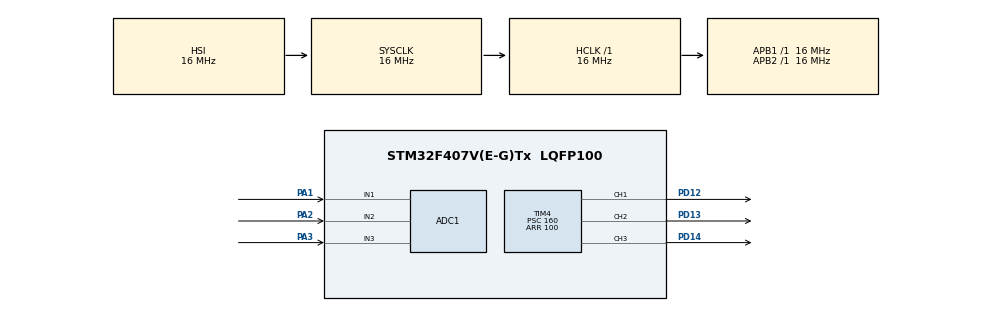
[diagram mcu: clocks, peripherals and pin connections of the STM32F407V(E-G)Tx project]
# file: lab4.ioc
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ADC1.Channel-0\#ChannelRegularConversion=ADC_CHANNEL_1
ADC1.ClockPrescaler=ADC_CLOCK_SYNC_PCLK_DIV8
ADC1.NbrOfConversionFlag=1
ADC1.Rank-0\#ChannelRegularConversion=1
ADC1.SamplingTime-0\#ChannelRegularConversion=ADC_SAMPLETIME_480CYCLES
ADC1.master=1
Mcu.Family=STM32F4
Mcu.Name=STM32F407V(E-G)Tx
Mcu.Package=LQFP100
NVIC.ADC_IRQn=true\:0\:0\:false\:false\:true\:true\:true\:true
NVIC.PriorityGroup=NVIC_PRIORITYGROUP_4
PA1.Signal=ADCx_IN1
PA2.Signal=ADCx_IN2
PA3.Signal=ADCx_IN3
PD12.Signal=S_TIM4_CH1
PD13.Signal=S_TIM4_CH2
PD14.Signal=S_TIM4_CH3
ProjectManager.HeapSize=0x200
ProjectManager.StackSize=0x400
ProjectManager.TargetToolchain=STM32CubeIDE
RCC.AHBFreq_Value=16000000
RCC.APB1Freq_Value=16000000
RCC.APB2Freq_Value=16000000
RCC.CortexFreq_Value=16000000
RCC.HSE_VALUE=25000000
RCC.HSI_VALUE=16000000
RCC.LSE_VALUE=32768
RCC.SYSCLKFreq_VALUE=16000000
RCC.VCOOutputFreq_Value=192000000
SH.ADCx_IN1.0=ADC1_IN1,IN1
SH.ADCx_IN2.0=ADC1_IN2,IN2
SH.ADCx_IN3.0=ADC1_IN3,IN3
SH.S_TIM4_CH1.0=TIM4_CH1,PWM Generation1 CH1
SH.S_TIM4_CH2.0=TIM4_CH2,PWM Generation2 CH2
SH.S_TIM4_CH3.0=TIM4_CH3,PWM Generation3 CH3
TIM4.Channel-PWM\ Generation1\ CH1=TIM_CHANNEL_1
TIM4.Channel-PWM\ Generation2\ CH2=TIM_CHANNEL_2
TIM4.Channel-PWM\ Generation3\ CH3=TIM_CHANNEL_3
TIM4.Period=100
TIM4.Prescaler=160
VP_TIM4_VS_ClockSourceINT.Mode=Internal
board=custom

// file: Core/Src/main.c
/* USER CODE BEGIN Header */
/**
  ******************************************************************************
  * @file           : main.c
  * @brief          : Main program body
  ******************************************************************************
  * @attention
  *
  * Copyright (c) 2025 STMicroelectronics.
  * All rights reserved.
  *
  * This software is licensed under terms that can be found in the LICENSE file
  * in the root directory of this software component.
  * If no LICENSE file comes with this software, it is provided AS-IS.
  *
  ******************************************************************************
  */
/* USER CODE END Header */
#include "main.h"

ADC_HandleTypeDef hadc1;

TIM_HandleTypeDef htim4;

void SystemClock_Config(void);
static void MX_GPIO_Init(void);
static void MX_TIM4_Init(void);
static void MX_ADC1_Init(void);

/* USER CODE BEGIN 0 */
void HAL_ADC_ConvCpltCallback(ADC_HandleTypeDef *hadc){
  static int state = 0;
  uint32_t val;
  static const uint32_t maxVal = 0xfff;
  ADC_ChannelConfTypeDef sConfig = {0};

  if(hadc->Instance == ADC1){
    val = HAL_ADC_GetValue(&hadc1) * 100;

    switch(state){
      case 0:
        TIM4->CCR1 = val / maxVal;
        state = 1;
        sConfig.Channel = ADC_CHANNEL_2;
        break;
      case 1:
        TIM4->CCR2 = val / maxVal;
        state = 2;
        sConfig.Channel = ADC_CHANNEL_3;
        break;
      case 2:
        TIM4->CCR3 = val / maxVal;
        state = 0;
        sConfig.Channel = ADC_CHANNEL_1;
        break;
    }

    sConfig.Rank = 1;
    sConfig.SamplingTime = ADC_SAMPLETIME_480CYCLES;

    if (HAL_ADC_ConfigChannel(&hadc1, &sConfig) != HAL_OK)
    {
      Error_Handler();
    }

    HAL_ADC_Start_IT(&hadc1);
  }
}
/* USER CODE END 0 */

int main(void)
{

  /* MCU Configuration--------------------------------------------------------*/

  /* Reset of all peripherals, Initializes the Flash interface and the Systick. */
  HAL_Init();

  /* Configure the system clock */
  SystemClock_Config();

  /* Initialize all configured peripherals */
  MX_GPIO_Init();
  MX_TIM4_Init();
  MX_ADC1_Init();
  /* USER CODE BEGIN 2 */
  HAL_TIM_PWM_Start(&htim4, TIM_CHANNEL_1);
  HAL_TIM_PWM_Start(&htim4, TIM_CHANNEL_2);
  HAL_TIM_PWM_Start(&htim4, TIM_CHANNEL_3);
  HAL_ADC_Start_IT(&hadc1);
  /* USER CODE END 2 */

  /* Infinite loop */
  while (1)
  {

  }
}

void SystemClock_Config(void)
{
  RCC_OscInitTypeDef RCC_OscInitStruct = {0};
  RCC_ClkInitTypeDef RCC_ClkInitStruct = {0};

  /** Configure the main internal regulator output voltage
  */
  __HAL_RCC_PWR_CLK_ENABLE();
  __HAL_PWR_VOLTAGESCALING_CONFIG(PWR_REGULATOR_VOLTAGE_SCALE1);

  /** Initializes the RCC Oscillators according to the specified parameters
  * in the RCC_OscInitTypeDef structure.
  */
  RCC_OscInitStruct.OscillatorType = RCC_OSCILLATORTYPE_HSI;
  RCC_OscInitStruct.HSIState = RCC_HSI_ON;
  RCC_OscInitStruct.HSICalibrationValue = RCC_HSICALIBRATION_DEFAULT;
  RCC_OscInitStruct.PLL.PLLState = RCC_PLL_NONE;
  if (HAL_RCC_OscConfig(&RCC_OscInitStruct) != HAL_OK)
  {
    Error_Handler();
  }

  /** Initializes the CPU, AHB and APB buses clocks
  */
  RCC_ClkInitStruct.ClockType = RCC_CLOCKTYPE_HCLK|RCC_CLOCKTYPE_SYSCLK
                              |RCC_CLOCKTYPE_PCLK1|RCC_CLOCKTYPE_PCLK2;
  RCC_ClkInitStruct.SYSCLKSource = RCC_SYSCLKSOURCE_HSI;
  RCC_ClkInitStruct.AHBCLKDivider = RCC_SYSCLK_DIV1;
  RCC_ClkInitStruct.APB1CLKDivider = RCC_HCLK_DIV1;
  RCC_ClkInitStruct.APB2CLKDivider = RCC_HCLK_DIV1;

  if (HAL_RCC_ClockConfig(&RCC_ClkInitStruct, FLASH_LATENCY_0) != HAL_OK)
  {
    Error_Handler();
  }
}

static void MX_ADC1_Init(void)
{

  ADC_ChannelConfTypeDef sConfig = {0};

  /** Configure the global features of the ADC (Clock, Resolution, Data Alignment and number of conversion)
  */
  hadc1.Instance = ADC1;
  hadc1.Init.ClockPrescaler = ADC_CLOCK_SYNC_PCLK_DIV8;
  hadc1.Init.Resolution = ADC_RESOLUTION_12B;
  hadc1.Init.ScanConvMode = DISABLE;
  hadc1.Init.ContinuousConvMode = DISABLE;
  hadc1.Init.DiscontinuousConvMode = DISABLE;
  hadc1.Init.ExternalTrigConvEdge = ADC_EXTERNALTRIGCONVEDGE_NONE;
  hadc1.Init.ExternalTrigConv = ADC_SOFTWARE_START;
  hadc1.Init.DataAlign = ADC_DATAALIGN_RIGHT;
  hadc1.Init.NbrOfConversion = 1;
  hadc1.Init.DMAContinuousRequests = DISABLE;
  hadc1.Init.EOCSelection = ADC_EOC_SINGLE_CONV;
  if (HAL_ADC_Init(&hadc1) != HAL_OK)
  {
    Error_Handler();
  }

  /** Configure for the selected ADC regular channel its corresponding rank in the sequencer and its sample time.
  */
  sConfig.Channel = ADC_CHANNEL_1;
  sConfig.Rank = 1;
  sConfig.SamplingTime = ADC_SAMPLETIME_480CYCLES;
  if (HAL_ADC_ConfigChannel(&hadc1, &sConfig) != HAL_OK)
  {
    Error_Handler();
  }

}

static void MX_TIM4_Init(void)
{

  TIM_ClockConfigTypeDef sClockSourceConfig = {0};
  TIM_MasterConfigTypeDef sMasterConfig = {0};
  TIM_OC_InitTypeDef sConfigOC = {0};

  htim4.Instance = TIM4;
  htim4.Init.Prescaler = 160;
  htim4.Init.CounterMode = TIM_COUNTERMODE_UP;
  htim4.Init.Period = 100;
  htim4.Init.ClockDivision = TIM_CLOCKDIVISION_DIV1;
  htim4.Init.AutoReloadPreload = TIM_AUTORELOAD_PRELOAD_DISABLE;
  if (HAL_TIM_Base_Init(&htim4) != HAL_OK)
  {
    Error_Handler();
  }
  sClockSourceConfig.ClockSource = TIM_CLOCKSOURCE_INTERNAL;
  if (HAL_TIM_ConfigClockSource(&htim4, &sClockSourceConfig) != HAL_OK)
  {
    Error_Handler();
  }
  if (HAL_TIM_PWM_Init(&htim4) != HAL_OK)
  {
    Error_Handler();
  }
  sMasterConfig.MasterOutputTrigger = TIM_TRGO_RESET;
  sMasterConfig.MasterSlaveMode = TIM_MASTERSLAVEMODE_DISABLE;
  if (HAL_TIMEx_MasterConfigSynchronization(&htim4, &sMasterConfig) != HAL_OK)
  {
    Error_Handler();
  }
  sConfigOC.OCMode = TIM_OCMODE_PWM1;
  sConfigOC.Pulse = 0;
  sConfigOC.OCPolarity = TIM_OCPOLARITY_HIGH;
  sConfigOC.OCFastMode = TIM_OCFAST_DISABLE;
  if (HAL_TIM_PWM_ConfigChannel(&htim4, &sConfigOC, TIM_CHANNEL_1) != HAL_OK)
  {
    Error_Handler();
  }
  if (HAL_TIM_PWM_ConfigChannel(&htim4, &sConfigOC, TIM_CHANNEL_2) != HAL_OK)
  {
    Error_Handler();
  }
  if (HAL_TIM_PWM_ConfigChannel(&htim4, &sConfigOC, TIM_CHANNEL_3) != HAL_OK)
  {
    Error_Handler();
  }
  HAL_TIM_MspPostInit(&htim4);

}

static void MX_GPIO_Init(void)
{

  /* GPIO Ports Clock Enable */
  __HAL_RCC_GPIOA_CLK_ENABLE();
  __HAL_RCC_GPIOD_CLK_ENABLE();

}

void Error_Handler(void)
{
  __disable_irq();
  while (1)
  {
  }
}
